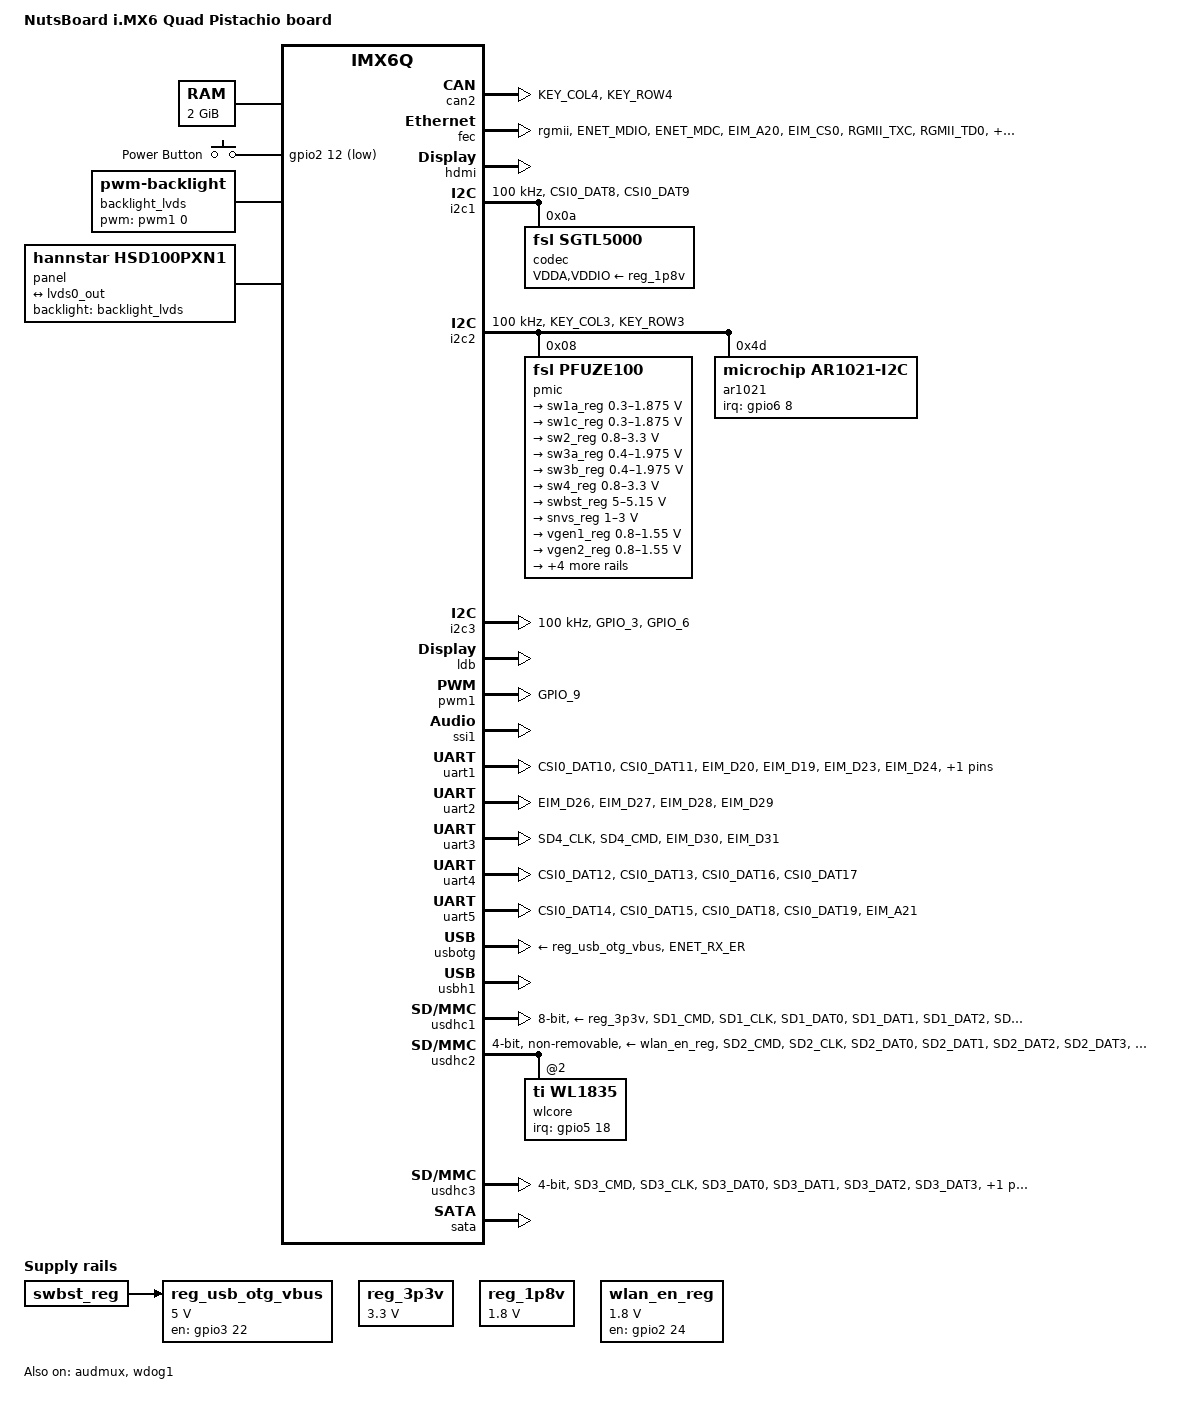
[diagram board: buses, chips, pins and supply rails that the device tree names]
/*
 * Copyright (C) 2017 NutsBoard.Org
 *
 * Author: Wig Cheng <onlywig@gmail.com>
 *
 * This file is dual-licensed: you can use it either under the terms
 * of the GPL or the X11 license, at your option. Note that this dual
 * licensing only applies to this file, and not this project as a
 * whole.
 *
 *  a) This file is free software; you can redistribute it and/or
 *     modify it under the terms of the GNU General Public License as
 *     published by the Free Software Foundation; either version 2 of the
 *     License, or (at your option) any later version.
 *
 *     This file is distributed in the hope that it will be useful,
 *     but WITHOUT ANY WARRANTY; without even the implied warranty of
 *     MERCHANTABILITY or FITNESS FOR A PARTICULAR PURPOSE.  See the
 *     GNU General Public License for more details.
 *
 * Or, alternatively,
 *
 *  b) Permission is hereby granted, free of charge, to any person
 *     obtaining a copy of this software and associated documentation
 *     files (the "Software"), to deal in the Software without
 *     restriction, including without limitation the rights to use,
 *     copy, modify, merge, publish, distribute, sublicense, and/or
 *     sell copies of the Software, and to permit persons to whom the
 *     Software is furnished to do so, subject to the following
 *     conditions:
 *
 *     The above copyright notice and this permission notice shall be
 *     included in all copies or substantial portions of the Software.
 *
 *     THE SOFTWARE IS PROVIDED "AS IS", WITHOUT WARRANTY OF ANY KIND,
 *     EXPRESS OR IMPLIED, INCLUDING BUT NOT LIMITED TO THE WARRANTIES
 *     OF MERCHANTABILITY, FITNESS FOR A PARTICULAR PURPOSE AND
 *     NONINFRINGEMENT. IN NO EVENT SHALL THE AUTHORS OR COPYRIGHT
 *     HOLDERS BE LIABLE FOR ANY CLAIM, DAMAGES OR OTHER LIABILITY,
 *     WHETHER IN AN ACTION OF CONTRACT, TORT OR OTHERWISE, ARISING
 *     FROM, OUT OF OR IN CONNECTION WITH THE SOFTWARE OR THE USE OR
 *     OTHER DEALINGS IN THE SOFTWARE.
 */

/dts-v1/;

#include <dt-bindings/gpio/gpio.h>
#include <dt-bindings/input/input.h>
#include "imx6q.dtsi"

/ {
	model = "NutsBoard i.MX6 Quad Pistachio board";
	compatible = "nutsboard,imx6q-pistachio", "fsl,imx6q";

	chosen {
		stdout-path = &uart4;
	};

	memory@10000000 {
		reg = <0x10000000 0x80000000>;
	};

	reg_3p3v: regulator-3p3v {
		compatible = "regulator-fixed";
		regulator-name = "3P3V";
		regulator-min-microvolt = <3300000>;
		regulator-max-microvolt = <3300000>;
	};

	reg_1p8v: regulator-1p8v {
		compatible = "regulator-fixed";
		regulator-name = "1P8V";
		regulator-min-microvolt = <1800000>;
		regulator-max-microvolt = <1800000>;
	};

	wlan_en_reg: regulator-wlan_en {
		compatible = "regulator-fixed";
		regulator-name = "wlan-en-regulator";
		regulator-min-microvolt = <1800000>;
		regulator-max-microvolt = <1800000>;
		gpio = <&gpio2 24 GPIO_ACTIVE_HIGH>;
		startup-delay-us = <70000>;
		enable-active-high;
	};

	reg_usb_otg_vbus: regulator-usb_vbus {
		compatible = "regulator-fixed";
		regulator-name = "usb_otg_vbus";
		regulator-min-microvolt = <5000000>;
		regulator-max-microvolt = <5000000>;
		gpio = <&gpio3 22 GPIO_ACTIVE_HIGH>;
		enable-active-high;
		vin-supply = <&swbst_reg>;
	};

	gpio-keys {
		compatible = "gpio-keys";
		pinctrl-names = "default";
		pinctrl-0 = <&pinctrl_gpio_keys>;

		power {
			label = "Power Button";
			gpios = <&gpio2 12 GPIO_ACTIVE_LOW>;
			gpio-key,wakeup;
			linux,code = <KEY_POWER>;
		};
	};

	sound {
		compatible = "fsl,imx-sgtl5000",
			   "fsl,imx-audio-sgtl5000";
		model = "audio-sgtl5000";
		ssi-controller = <&ssi1>;
		audio-codec = <&codec>;
		audio-routing =
			"MIC_IN", "Mic Jack",
			"Mic Jack", "Mic Bias",
			"Headphone Jack", "HP_OUT";
		mux-int-port = <1>;
		mux-ext-port = <3>;
	};

	backlight_lvds: backlight-lvds {
		compatible = "pwm-backlight";
		pwms = <&pwm1 0 50000>;
		brightness-levels = <
			0  /*1  2  3  4  5  6*/  7  8  9
			10 11 12 13 14 15 16 17 18 19
			20 21 22 23 24 25 26 27 28 29
			30 31 32 33 34 35 36 37 38 39
			40 41 42 43 44 45 46 47 48 49
			50 51 52 53 54 55 56 57 58 59
			60 61 62 63 64 65 66 67 68 69
			70 71 72 73 74 75 76 77 78 79
			80 81 82 83 84 85 86 87 88 89
			90 91 92 93 94 95 96 97 98 99
			100
		>;
		default-brightness-level = <94>;
		status = "okay";
	};

	panel {
		compatible = "hannstar,hsd100pxn1";
		backlight = <&backlight_lvds>;

		port {
			panel_in: endpoint {
				remote-endpoint = <&lvds0_out>;
			};
		};
	};
};

&audmux {
	pinctrl-names = "default";
	pinctrl-0 = <&pinctrl_audmux>;
	status = "okay";
};

&can2 {
	pinctrl-names = "default";
	pinctrl-0 = <&pinctrl_flexcan2>;
	status = "okay";
};

&clks {
	assigned-clocks = <&clks IMX6QDL_CLK_LDB_DI0_SEL>,
			  <&clks IMX6QDL_CLK_LDB_DI1_SEL>;
	assigned-clock-parents = <&clks IMX6QDL_CLK_PLL3_USB_OTG>,
				 <&clks IMX6QDL_CLK_PLL3_USB_OTG>;
};

&fec {
	pinctrl-names = "default";
	pinctrl-0 = <&pinctrl_enet>;
	phy-mode = "rgmii";
	status = "okay";
};

&hdmi {
	ddc-i2c-bus = <&i2c2>;
	status = "okay";
};

&i2c1 {
	clock-frequency = <100000>;
	pinctrl-names = "default";
	pinctrl-0 = <&pinctrl_i2c1>;
	status = "okay";

	codec: sgtl5000@a {
		compatible = "fsl,sgtl5000";
		pinctrl-names = "default";
		pinctrl-0 = <&pinctrl_i2c1_sgtl5000>;
		reg = <0x0a>;
		clocks = <&clks IMX6QDL_CLK_CKO>;
		VDDA-supply = <&reg_1p8v>;
		VDDIO-supply = <&reg_1p8v>;
	};
};

&i2c2 {
	clock-frequency = <100000>;
	pinctrl-names = "default";
	pinctrl-0 = <&pinctrl_i2c2>;
	status = "okay";

	pmic: pfuze100@8 {
		compatible = "fsl,pfuze100";
		reg = <0x08>;

		regulators {
			sw1a_reg: sw1ab {
				regulator-min-microvolt = <300000>;
				regulator-max-microvolt = <1875000>;
				regulator-boot-on;
				regulator-always-on;
				regulator-ramp-delay = <6250>;
			};

			sw1c_reg: sw1c {
				regulator-min-microvolt = <300000>;
				regulator-max-microvolt = <1875000>;
				regulator-boot-on;
				regulator-always-on;
				regulator-ramp-delay = <6250>;
			};

			sw2_reg: sw2 {
				regulator-min-microvolt = <800000>;
				regulator-max-microvolt = <3300000>;
				regulator-boot-on;
				regulator-always-on;
				regulator-ramp-delay = <6250>;
			};

			sw3a_reg: sw3a {
				regulator-min-microvolt = <400000>;
				regulator-max-microvolt = <1975000>;
				regulator-boot-on;
				regulator-always-on;
			};

			sw3b_reg: sw3b {
				regulator-min-microvolt = <400000>;
				regulator-max-microvolt = <1975000>;
				regulator-boot-on;
				regulator-always-on;
			};

			sw4_reg: sw4 {
				regulator-min-microvolt = <800000>;
				regulator-max-microvolt = <3300000>;
			};

			swbst_reg: swbst {
				regulator-min-microvolt = <5000000>;
				regulator-max-microvolt = <5150000>;
			};

			snvs_reg: vsnvs {
				regulator-min-microvolt = <1000000>;
				regulator-max-microvolt = <3000000>;
				regulator-boot-on;
				regulator-always-on;
			};

			vref_reg: vrefddr {
				regulator-boot-on;
				regulator-always-on;
			};

			vgen1_reg: vgen1 {
				regulator-min-microvolt = <800000>;
				regulator-max-microvolt = <1550000>;
			};

			vgen2_reg: vgen2 {
				regulator-min-microvolt = <800000>;
				regulator-max-microvolt = <1550000>;
			};

			vgen3_reg: vgen3 {
				regulator-min-microvolt = <1800000>;
				regulator-max-microvolt = <3300000>;
			};

			vgen4_reg: vgen4 {
				regulator-min-microvolt = <1800000>;
				regulator-max-microvolt = <3300000>;
				regulator-always-on;
			};

			vgen5_reg: vgen5 {
				regulator-min-microvolt = <1800000>;
				regulator-max-microvolt = <3300000>;
				regulator-always-on;
			};
			vgen6_reg: vgen6 {
				regulator-min-microvolt = <1800000>;
				regulator-max-microvolt = <3300000>;
				regulator-always-on;
			};
		};
	};

	ar1021@4d {
		compatible = "microchip,ar1021-i2c";
		reg = <0x4d>;
		interrupt-parent = <&gpio6>;
		interrupts = <8 IRQ_TYPE_EDGE_FALLING>;
	};
};

&i2c3 {
	clock-frequency = <100000>;
	pinctrl-names = "default";
	pinctrl-0 = <&pinctrl_i2c3>;
	status = "okay";
};

&iomuxc {
	pinctrl-names = "default";

	pinctrl_hog: hoggrp {
		fsl,pins = <
			MX6QDL_PAD_EIM_D22__GPIO3_IO22	0x1b0b0  /*pcie power*/
			MX6QDL_PAD_EIM_A25__GPIO5_IO02	0x1b0b0   /*LCD power*/
			MX6QDL_PAD_EIM_D16__GPIO3_IO16	0x1b0b0   /*backlight power*/
			MX6QDL_PAD_GPIO_2__GPIO1_IO02		0x1b0b1 /*SD3 CD pin*/
			MX6QDL_PAD_KEY_COL2__GPIO4_IO10	0x1b0b0 /*codec power*/
			MX6QDL_PAD_EIM_A16__GPIO2_IO22	0x1b0b0 /*touch reset*/
			MX6QDL_PAD_NANDF_ALE__GPIO6_IO08	0x1b0b01 /*touch irq*/
			MX6QDL_PAD_GPIO_7__GPIO1_IO07	 0x1b0b0/*backlight pwr*/
			MX6QDL_PAD_GPIO_16__GPIO7_IO11	0x1b0b0 /*gpio 5V_1*/
			MX6QDL_PAD_EIM_A19__GPIO2_IO19	0x1b0b0 /*gpio 5V_2*/
			MX6QDL_PAD_EIM_A24__GPIO5_IO04	0x1b0b0 /*gpio 5V_3*/
			MX6QDL_PAD_GPIO_17__GPIO7_IO12	0x1b0b0 /*gpio 5V_4*/
			MX6QDL_PAD_NANDF_CLE__GPIO6_IO07	0x1b0b0 /*AUX_5V_EN*/
			MX6QDL_PAD_NANDF_WP_B__GPIO6_IO09	0x1b0b0 /*AUX_5VB_EN*/
			MX6QDL_PAD_NANDF_RB0__GPIO6_IO10	0x1b0b0 /*AUX_3V3_EN*/
			MX6QDL_PAD_EIM_D21__GPIO3_IO21	0x1b0b0 /*I2C expander pwr*/
		>;
	};

	pinctrl_audmux: audmuxgrp {
		fsl,pins = <
			MX6QDL_PAD_CSI0_DAT7__AUD3_RXD		0x130b0
			MX6QDL_PAD_CSI0_DAT4__AUD3_TXC		0x130b0
			MX6QDL_PAD_CSI0_DAT5__AUD3_TXD		0x110b0
			MX6QDL_PAD_CSI0_DAT6__AUD3_TXFS		0x130b0
		>;
	};

	pinctrl_ecspi1: ecspi1grp {
		fsl,pins = <
			MX6QDL_PAD_KEY_COL1__ECSPI1_MISO	0x100b1
			MX6QDL_PAD_KEY_ROW0__ECSPI1_MOSI	0x100b1
			MX6QDL_PAD_KEY_COL0__ECSPI1_SCLK	0x100b1
			MX6QDL_PAD_KEY_ROW1__GPIO4_IO09		0x1b0b0
		>;
	};

	pinctrl_enet: enetgrp {
		fsl,pins = <
			MX6QDL_PAD_ENET_MDIO__ENET_MDIO		0x1b8b0
			MX6QDL_PAD_ENET_MDC__ENET_MDC		0x1b0b0
			/* AR8035 reset */
			MX6QDL_PAD_EIM_A20__GPIO2_IO18		0x130b0
			/* AR8035 interrupt */
			MX6QDL_PAD_EIM_CS0__GPIO2_IO23		0x1b0b1
			MX6QDL_PAD_RGMII_TXC__RGMII_TXC		0x1b030
			MX6QDL_PAD_RGMII_TD0__RGMII_TD0		0x1b030
			MX6QDL_PAD_RGMII_TD1__RGMII_TD1		0x1b030
			MX6QDL_PAD_RGMII_TD2__RGMII_TD2		0x1b030
			MX6QDL_PAD_RGMII_TD3__RGMII_TD3		0x1b030
			MX6QDL_PAD_RGMII_TX_CTL__RGMII_TX_CTL	0x1b030
			/* AR8035 CLK_25M --> ENET_REF_CLK (V22) */
			MX6QDL_PAD_ENET_REF_CLK__ENET_TX_CLK	0x0a0b1
			/* AR8035 pin strapping: IO voltage: pull up */
			MX6QDL_PAD_RGMII_RXC__RGMII_RXC		0x1b030
			/* AR8035 pin strapping: PHYADDR#0: pull down */
			MX6QDL_PAD_RGMII_RD0__RGMII_RD0		0x13030
			/* AR8035 pin strapping: PHYADDR#1: pull down */
			MX6QDL_PAD_RGMII_RD1__RGMII_RD1		0x13030
			/* AR8035 pin strapping: MODE#1: pull up */
			MX6QDL_PAD_RGMII_RD2__RGMII_RD2		0x1b030
			/* AR8035 pin strapping: MODE#3: pull up */
			MX6QDL_PAD_RGMII_RD3__RGMII_RD3		0x1b030
			/* AR8035 pin strapping: MODE#0: pull down */
			MX6QDL_PAD_RGMII_RX_CTL__RGMII_RX_CTL	0x13030
		>;
	};

	pinctrl_flexcan2: flexcan2grp {
		fsl,pins = <
			MX6QDL_PAD_KEY_COL4__FLEXCAN2_TX	0x1b0b0
			MX6QDL_PAD_KEY_ROW4__FLEXCAN2_RX	0x1b0b0
		>;
	};

	pinctrl_gpio_keys: gpio_keysgrp {
		fsl,pins = <
			MX6QDL_PAD_SD4_DAT4__GPIO2_IO12 0x1b0b0
		>;
	};

	pinctrl_hdmi_cec: hdmicecgrp {
		fsl,pins = <
			MX6QDL_PAD_KEY_ROW2__HDMI_TX_CEC_LINE 0x108b0
		>;
	};

	pinctrl_i2c1: i2c1grp {
		fsl,pins = <
			MX6QDL_PAD_CSI0_DAT8__I2C1_SDA		0x4001b8b1
			MX6QDL_PAD_CSI0_DAT9__I2C1_SCL		0x4001b8b1
		>;
	};

	pinctrl_i2c2: i2c2grp {
		fsl,pins = <
			MX6QDL_PAD_KEY_COL3__I2C2_SCL		0x4001b8b1
			MX6QDL_PAD_KEY_ROW3__I2C2_SDA		0x4001b8b1
		>;
	};

	pinctrl_i2c3: i2c3grp {
		fsl,pins = <
			MX6QDL_PAD_GPIO_3__I2C3_SCL		0x4001b8b1
			MX6QDL_PAD_GPIO_6__I2C3_SDA		0x4001b8b1
		>;
	};

	pinctrl_i2c1_sgtl5000: i2c1-sgtl5000grp {
		fsl,pins = <
			MX6QDL_PAD_GPIO_0__CCM_CLKO1			0x000b0 /* sys_mclk */
			MX6QDL_PAD_SD3_RST__GPIO7_IO08		0x130b0 /*headphone det*/
			MX6QDL_PAD_GPIO_8__GPIO1_IO08			0x130b0 /*microphone det*/
		>;
	};

	pinctrl_pwm1: pwm1grp {
		fsl,pins = <
			MX6QDL_PAD_GPIO_9__PWM1_OUT	    0x1b0b1
		>;
	};

	pinctrl_uart1: uart1grp {
		fsl,pins = <
			MX6QDL_PAD_CSI0_DAT10__UART1_RX_DATA	0x1b0b1
			MX6QDL_PAD_CSI0_DAT11__UART1_TX_DATA	0x1b0b1
			MX6QDL_PAD_EIM_D20__UART1_CTS_B	0x1b0b1
			MX6QDL_PAD_EIM_D19__UART1_RTS_B	0x1b0b1
			MX6QDL_PAD_EIM_D23__UART1_DCD_B	0x1b0b0
			MX6QDL_PAD_EIM_D24__UART1_DTR_B	0x1b0b0
			MX6QDL_PAD_EIM_D25__UART1_DSR_B	0x1b0b0
		>;
	};

	pinctrl_uart2: uart2grp {
		fsl,pins = <
			MX6QDL_PAD_EIM_D26__UART2_TX_DATA	0x1b0b1
			MX6QDL_PAD_EIM_D27__UART2_RX_DATA	0x1b0b1
			MX6QDL_PAD_EIM_D28__UART2_CTS_B	0x1b0b1
			MX6QDL_PAD_EIM_D29__UART2_RTS_B	0x1b0b1
		>;
	};

	pinctrl_uart3: uart3grp {
		fsl,pins = <
			MX6QDL_PAD_SD4_CLK__UART3_RX_DATA	0x1b0b1
			MX6QDL_PAD_SD4_CMD__UART3_TX_DATA	0x1b0b1
			MX6QDL_PAD_EIM_D30__UART3_CTS_B		0x1b0b1
			MX6QDL_PAD_EIM_D31__UART3_RTS_B		0x1b0b1
		>;
	};

	pinctrl_uart4: uart4grp {
		fsl,pins = <
			MX6QDL_PAD_CSI0_DAT12__UART4_TX_DATA	0x1b0b1
			MX6QDL_PAD_CSI0_DAT13__UART4_RX_DATA	0x1b0b1
			MX6QDL_PAD_CSI0_DAT16__UART4_RTS_B	0x1b0b1
			MX6QDL_PAD_CSI0_DAT17__UART4_CTS_B	0x1b0b1
		>;
	};

	pinctrl_uart5: uart5grp {
		fsl,pins = <
			MX6QDL_PAD_CSI0_DAT14__UART5_TX_DATA	0x1b0b1
			MX6QDL_PAD_CSI0_DAT15__UART5_RX_DATA	0x1b0b1
			MX6QDL_PAD_CSI0_DAT18__UART5_RTS_B	0x1b0b1
			MX6QDL_PAD_CSI0_DAT19__UART5_CTS_B	0x1b0b1
			MX6QDL_PAD_EIM_A21__GPIO2_IO17		 0x15059 /*BT_EN*/
		>;
	};

	pinctrl_usbotg: usbotggrp {
		fsl,pins = <
			MX6QDL_PAD_ENET_RX_ER__USB_OTG_ID	0x17059
		>;
	};

	pinctrl_usdhc1: usdhc1grp {
		fsl,pins = <
			MX6QDL_PAD_SD1_CMD__SD1_CMD		0x17059
			MX6QDL_PAD_SD1_CLK__SD1_CLK		0x10059
			MX6QDL_PAD_SD1_DAT0__SD1_DATA0		0x17059
			MX6QDL_PAD_SD1_DAT1__SD1_DATA1		0x17059
			MX6QDL_PAD_SD1_DAT2__SD1_DATA2		0x17059
			MX6QDL_PAD_SD1_DAT3__SD1_DATA3		0x17059
			MX6QDL_PAD_NANDF_D0__SD1_DATA4		0x17059
			MX6QDL_PAD_NANDF_D1__SD1_DATA5		0x17059
			MX6QDL_PAD_NANDF_D2__SD1_DATA6		0x17059
			MX6QDL_PAD_NANDF_D3__SD1_DATA7		0x17059
		>;
	};

	pinctrl_usdhc2: usdhc2grp {
		fsl,pins = <
			MX6QDL_PAD_SD2_CMD__SD2_CMD		0x17059
			MX6QDL_PAD_SD2_CLK__SD2_CLK		0x10059
			MX6QDL_PAD_SD2_DAT0__SD2_DATA0		0x17059
			MX6QDL_PAD_SD2_DAT1__SD2_DATA1		0x17059
			MX6QDL_PAD_SD2_DAT2__SD2_DATA2		0x17059
			MX6QDL_PAD_SD2_DAT3__SD2_DATA3		0x17059
			MX6QDL_PAD_EIM_RW__GPIO2_IO26			0x15059 /*WL_EN_LDO*/
			MX6QDL_PAD_EIM_CS1__GPIO2_IO24		0x15059 /*WL_EN*/
			MX6QDL_PAD_CSI0_PIXCLK__GPIO5_IO18	0x15059 /*WL_IRQ*/
		>;
	};

	pinctrl_usdhc3: usdhc3grp {
		fsl,pins = <
			MX6QDL_PAD_SD3_CMD__SD3_CMD		0x17071
			MX6QDL_PAD_SD3_CLK__SD3_CLK		0x10071
			MX6QDL_PAD_SD3_DAT0__SD3_DATA0		0x17071
			MX6QDL_PAD_SD3_DAT1__SD3_DATA1		0x17071
			MX6QDL_PAD_SD3_DAT2__SD3_DATA2		0x17071
			MX6QDL_PAD_SD3_DAT3__SD3_DATA3		0x17071
		>;
	};

	pinctrl_wdog: wdoggrp {
		fsl,pins = <
			MX6QDL_PAD_GPIO_1__WDOG2_B	0x1b0b00
		>;
	};
};

&ldb {
	status = "okay";

	lvds-channel@1 {
		fsl,data-mapping = "spwg";
		fsl,data-width = <18>;
		status = "okay";

		port@4 {
			reg = <4>;

			lvds0_out: endpoint {
				remote-endpoint = <&panel_in>;
			};
		};
	};
};

&pwm1 {
	pinctrl-names = "default";
	pinctrl-0 = <&pinctrl_pwm1>;
	status = "okay";
};

&snvs_poweroff {
	status = "okay";
};

&ssi1 {
	status = "okay";
};

&uart1 {
	pinctrl-names = "default";
	pinctrl-0 = <&pinctrl_uart1>;
	uart-has-rtscts;
	fsl,dte-mode;
	status = "okay";
};

&uart2 {
	pinctrl-names = "default";
	pinctrl-0 = <&pinctrl_uart2>;
	uart-has-rtscts;
	status = "okay";
};

&uart3 {
	pinctrl-names = "default";
	pinctrl-0 = <&pinctrl_uart3>;
	uart-has-rtscts;
	status = "okay";
};

&uart4 {
	pinctrl-names = "default";
	pinctrl-0 = <&pinctrl_uart4>;
	uart-has-rtscts;
	status = "okay";
};

&uart5 {
	pinctrl-names = "default";
	pinctrl-0 = <&pinctrl_uart5>;
	fsl,uart-has-rtscts;
	status = "okay";
};

&usbotg {
	vbus-supply = <&reg_usb_otg_vbus>;
	pinctrl-names = "default";
	pinctrl-0 = <&pinctrl_usbotg>;
	disable-over-current;
	srp-disable;
	hnp-disable;
	adp-disable;
	status = "okay";
};

&usbh1 {
	status = "okay";
};

&usbphy1 {
	fsl,tx-d-cal = <0x5>;
};

&usbphy2 {
	fsl,tx-d-cal = <0x5>;
};

&usdhc1 {
	pinctrl-names = "default";
	pinctrl-0 = <&pinctrl_usdhc1>;
	bus-width = <8>;
	keep-power-in-suspend;
	vmmc-supply = <&reg_3p3v>;
	status = "okay";
};

&usdhc2 {
	pinctrl-names = "default";
	pinctrl-0 = <&pinctrl_usdhc2>;
	bus-width = <4>;
	vmmc-supply = <&wlan_en_reg>;
	no-1-8-v;
	keep-power-in-suspend;
	non-removable;
	cap-power-off-card;
	status = "okay";

	#address-cells = <1>;
	#size-cells = <0>;
	wlcore: wlcore@2 {
		compatible = "ti,wl1835";
		reg = <2>;
		interrupt-parent = <&gpio5>;
		interrupts = <18 IRQ_TYPE_LEVEL_HIGH>;
		ref-clock-frequency = <38400000>;
		tcxo-clock-frequency = <26000000>;
	};
};

&usdhc3 {
	pinctrl-names = "default";
	pinctrl-0 = <&pinctrl_usdhc3>;
	bus-width = <4>;
	cd-gpios = <&gpio1 2 GPIO_ACTIVE_LOW>;
	no-1-8-v;
	keep-power-in-suspend;
	wakeup-source;
	status = "okay";
};

&sata {
	status = "okay";
};

&wdog1 {
	status = "okay";
};
